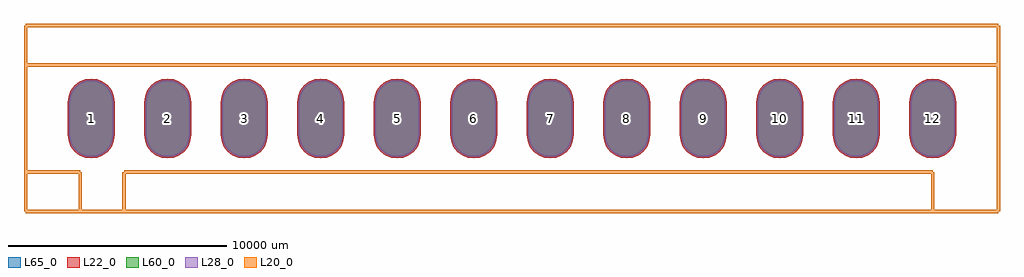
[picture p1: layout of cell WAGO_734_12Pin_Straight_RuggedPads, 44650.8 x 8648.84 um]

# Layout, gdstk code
import gdstk
lib = gdstk.Library(unit=1e-6, precision=1e-09)
def P(c, l, *ps):  # polygons
    for p in ps: c.add(gdstk.Polygon(p, *l))
L20_0 = (20, 0)
L22_0 = (22, 0)
L28_0 = (28, 0)
L60_0 = (60, 0)
L65_0 = (65, 0)

wago_734_12pin_straight_ = lib.new_cell('WAGO_734_12Pin_Straight_RuggedPads')
P(wago_734_12pin_straight_, L22_0, [(19250.66,-1825.06),(19528.758,-1788.448),(19787.905,-1681.106),(20010.439,-1510.349),(20181.196,-1287.815),(20288.538,-1028.668),(20325.15,-750.57),(20325.15,750.57),(20288.538,1028.668),(20181.196,1287.815),(20010.439,1510.349),(19787.905,1681.106),(19528.758,1788.448),(19250.66,1825.06),(18972.562,1788.448),(18713.415,1681.106),(18490.881,1510.349),(18320.124,1287.815),(18212.782,1028.668),(18176.17,750.57),(18176.17,-750.57),(18212.782,-1028.668),(18320.124,-1287.815),(18490.881,-1510.349),(18713.415,-1681.106),(18972.562,-1788.448)],
  [(-19250.66,-1825.06),(-18972.562,-1788.448),(-18713.415,-1681.106),(-18490.881,-1510.349),(-18320.124,-1287.815),(-18212.782,-1028.668),(-18176.17,-750.57),(-18176.17,750.57),(-18212.782,1028.668),(-18320.124,1287.815),(-18490.881,1510.349),(-18713.415,1681.106),(-18972.562,1788.448),(-19250.66,1825.06),(-19528.758,1788.448),(-19787.905,1681.106),(-20010.439,1510.349),(-20181.196,1287.815),(-20288.538,1028.668),(-20325.15,750.57),(-20325.15,-750.57),(-20288.538,-1028.668),(-20181.196,-1287.815),(-20010.439,-1510.349),(-19787.905,-1681.106),(-19528.758,-1788.448)],
  [(-15750.54,-1825.06),(-15472.442,-1788.448),(-15213.295,-1681.106),(-14990.761,-1510.349),(-14820.004,-1287.815),(-14712.662,-1028.668),(-14676.05,-750.57),(-14676.05,750.57),(-14712.662,1028.668),(-14820.004,1287.815),(-14990.761,1510.349),(-15213.295,1681.106),(-15472.442,1788.448),(-15750.54,1825.06),(-16028.638,1788.448),(-16287.785,1681.106),(-16510.319,1510.349),(-16681.076,1287.815),(-16788.418,1028.668),(-16825.03,750.57),(-16825.03,-750.57),(-16788.418,-1028.668),(-16681.076,-1287.815),(-16510.319,-1510.349),(-16287.785,-1681.106),(-16028.638,-1788.448)],
  [(15750.54,-1825.06),(16028.638,-1788.448),(16287.785,-1681.106),(16510.319,-1510.349),(16681.076,-1287.815),(16788.418,-1028.668),(16825.03,-750.57),(16825.03,750.57),(16788.418,1028.668),(16681.076,1287.815),(16510.319,1510.349),(16287.785,1681.106),(16028.638,1788.448),(15750.54,1825.06),(15472.442,1788.448),(15213.295,1681.106),(14990.761,1510.349),(14820.004,1287.815),(14712.662,1028.668),(14676.05,750.57),(14676.05,-750.57),(14712.662,-1028.668),(14820.004,-1287.815),(14990.761,-1510.349),(15213.295,-1681.106),(15472.442,-1788.448)],
  [(12250.42,-1825.06),(12528.518,-1788.448),(12787.665,-1681.106),(13010.199,-1510.349),(13180.956,-1287.815),(13288.298,-1028.668),(13324.91,-750.57),(13324.91,750.57),(13288.298,1028.668),(13180.956,1287.815),(13010.199,1510.349),(12787.665,1681.106),(12528.518,1788.448),(12250.42,1825.06),(11972.322,1788.448),(11713.175,1681.106),(11490.641,1510.349),(11319.884,1287.815),(11212.542,1028.668),(11175.93,750.57),(11175.93,-750.57),(11212.542,-1028.668),(11319.884,-1287.815),(11490.641,-1510.349),(11713.175,-1681.106),(11972.322,-1788.448)],
  [(-12250.42,-1825.06),(-11972.322,-1788.448),(-11713.175,-1681.106),(-11490.641,-1510.349),(-11319.884,-1287.815),(-11212.542,-1028.668),(-11175.93,-750.57),(-11175.93,750.57),(-11212.542,1028.668),(-11319.884,1287.815),(-11490.641,1510.349),(-11713.175,1681.106),(-11972.322,1788.448),(-12250.42,1825.06),(-12528.518,1788.448),(-12787.665,1681.106),(-13010.199,1510.349),(-13180.956,1287.815),(-13288.298,1028.668),(-13324.91,750.57),(-13324.91,-750.57),(-13288.298,-1028.668),(-13180.956,-1287.815),(-13010.199,-1510.349),(-12787.665,-1681.106),(-12528.518,-1788.448)],
  [(8750.3,-1825.06),(9028.398,-1788.448),(9287.545,-1681.106),(9510.079,-1510.349),(9680.836,-1287.815),(9788.178,-1028.668),(9824.79,-750.57),(9824.79,750.57),(9788.178,1028.668),(9680.836,1287.815),(9510.079,1510.349),(9287.545,1681.106),(9028.398,1788.448),(8750.3,1825.06),(8472.202,1788.448),(8213.055,1681.106),(7990.521,1510.349),(7819.764,1287.815),(7712.422,1028.668),(7675.81,750.57),(7675.81,-750.57),(7712.422,-1028.668),(7819.764,-1287.815),(7990.521,-1510.349),(8213.055,-1681.106),(8472.202,-1788.448)],
  [(-8750.3,-1825.06),(-8472.202,-1788.448),(-8213.055,-1681.106),(-7990.521,-1510.349),(-7819.764,-1287.815),(-7712.422,-1028.668),(-7675.81,-750.57),(-7675.81,750.57),(-7712.422,1028.668),(-7819.764,1287.815),(-7990.521,1510.349),(-8213.055,1681.106),(-8472.202,1788.448),(-8750.3,1825.06),(-9028.398,1788.448),(-9287.545,1681.106),(-9510.079,1510.349),(-9680.836,1287.815),(-9788.178,1028.668),(-9824.79,750.57),(-9824.79,-750.57),(-9788.178,-1028.668),(-9680.836,-1287.815),(-9510.079,-1510.349),(-9287.545,-1681.106),(-9028.398,-1788.448)],
  [(5250.18,-1825.06),(5528.278,-1788.448),(5787.425,-1681.106),(6009.959,-1510.349),(6180.716,-1287.815),(6288.058,-1028.668),(6324.67,-750.57),(6324.67,750.57),(6288.058,1028.668),(6180.716,1287.815),(6009.959,1510.349),(5787.425,1681.106),(5528.278,1788.448),(5250.18,1825.06),(4972.082,1788.448),(4712.935,1681.106),(4490.401,1510.349),(4319.644,1287.815),(4212.302,1028.668),(4175.69,750.57),(4175.69,-750.57),(4212.302,-1028.668),(4319.644,-1287.815),(4490.401,-1510.349),(4712.935,-1681.106),(4972.082,-1788.448)],
  [(1750.06,-1825.06),(2028.158,-1788.448),(2287.305,-1681.106),(2509.839,-1510.349),(2680.596,-1287.815),(2787.938,-1028.668),(2824.55,-750.57),(2824.55,750.57),(2787.938,1028.668),(2680.596,1287.815),(2509.839,1510.349),(2287.305,1681.106),(2028.158,1788.448),(1750.06,1825.06),(1471.962,1788.448),(1212.815,1681.106),(990.281,1510.349),(819.524,1287.815),(712.182,1028.668),(675.57,750.57),(675.57,-750.57),(712.182,-1028.668),(819.524,-1287.815),(990.281,-1510.349),(1212.815,-1681.106),(1471.962,-1788.448)],
  [(-5250.18,-1825.06),(-4972.082,-1788.448),(-4712.935,-1681.106),(-4490.401,-1510.349),(-4319.644,-1287.815),(-4212.302,-1028.668),(-4175.69,-750.57),(-4175.69,750.57),(-4212.302,1028.668),(-4319.644,1287.815),(-4490.401,1510.349),(-4712.935,1681.106),(-4972.082,1788.448),(-5250.18,1825.06),(-5528.278,1788.448),(-5787.425,1681.106),(-6009.959,1510.349),(-6180.716,1287.815),(-6288.058,1028.668),(-6324.67,750.57),(-6324.67,-750.57),(-6288.058,-1028.668),(-6180.716,-1287.815),(-6009.959,-1510.349),(-5787.425,-1681.106),(-5528.278,-1788.448)],
  [(-1750.06,-1825.06),(-1471.962,-1788.448),(-1212.815,-1681.106),(-990.281,-1510.349),(-819.524,-1287.815),(-712.182,-1028.668),(-675.57,-750.57),(-675.57,750.57),(-712.182,1028.668),(-819.524,1287.815),(-990.281,1510.349),(-1212.815,1681.106),(-1471.962,1788.448),(-1750.06,1825.06),(-2028.158,1788.448),(-2287.305,1681.106),(-2509.839,1510.349),(-2680.596,1287.815),(-2787.938,1028.668),(-2824.55,750.57),(-2824.55,-750.57),(-2787.938,-1028.668),(-2680.596,-1287.815),(-2509.839,-1510.349),(-2287.305,-1681.106),(-2028.158,-1788.448)])
P(wago_734_12pin_straight_, L28_0, [(19250.66,-1750.06),(19509.347,-1716.003),(19750.405,-1616.154),(19957.406,-1457.316),(20116.244,-1250.315),(20216.093,-1009.257),(20250.15,-750.57),(20250.15,750.57),(20216.093,1009.257),(20116.244,1250.315),(19957.406,1457.316),(19750.405,1616.154),(19509.347,1716.003),(19250.66,1750.06),(18991.973,1716.003),(18750.915,1616.154),(18543.914,1457.316),(18385.076,1250.315),(18285.227,1009.257),(18251.17,750.57),(18251.17,-750.57),(18285.227,-1009.257),(18385.076,-1250.315),(18543.914,-1457.316),(18750.915,-1616.154),(18991.973,-1716.003)],
  [(-19250.66,-1750.06),(-18991.973,-1716.003),(-18750.915,-1616.154),(-18543.914,-1457.316),(-18385.076,-1250.315),(-18285.227,-1009.257),(-18251.17,-750.57),(-18251.17,750.57),(-18285.227,1009.257),(-18385.076,1250.315),(-18543.914,1457.316),(-18750.915,1616.154),(-18991.973,1716.003),(-19250.66,1750.06),(-19509.347,1716.003),(-19750.405,1616.154),(-19957.406,1457.316),(-20116.244,1250.315),(-20216.093,1009.257),(-20250.15,750.57),(-20250.15,-750.57),(-20216.093,-1009.257),(-20116.244,-1250.315),(-19957.406,-1457.316),(-19750.405,-1616.154),(-19509.347,-1716.003)],
  [(-15750.54,-1750.06),(-15491.853,-1716.003),(-15250.795,-1616.154),(-15043.794,-1457.316),(-14884.956,-1250.315),(-14785.107,-1009.257),(-14751.05,-750.57),(-14751.05,750.57),(-14785.107,1009.257),(-14884.956,1250.315),(-15043.794,1457.316),(-15250.795,1616.154),(-15491.853,1716.003),(-15750.54,1750.06),(-16009.227,1716.003),(-16250.285,1616.154),(-16457.286,1457.316),(-16616.124,1250.315),(-16715.973,1009.257),(-16750.03,750.57),(-16750.03,-750.57),(-16715.973,-1009.257),(-16616.124,-1250.315),(-16457.286,-1457.316),(-16250.285,-1616.154),(-16009.227,-1716.003)],
  [(15750.54,-1750.06),(16009.227,-1716.003),(16250.285,-1616.154),(16457.286,-1457.316),(16616.124,-1250.315),(16715.973,-1009.257),(16750.03,-750.57),(16750.03,750.57),(16715.973,1009.257),(16616.124,1250.315),(16457.286,1457.316),(16250.285,1616.154),(16009.227,1716.003),(15750.54,1750.06),(15491.853,1716.003),(15250.795,1616.154),(15043.794,1457.316),(14884.956,1250.315),(14785.107,1009.257),(14751.05,750.57),(14751.05,-750.57),(14785.107,-1009.257),(14884.956,-1250.315),(15043.794,-1457.316),(15250.795,-1616.154),(15491.853,-1716.003)],
  [(12250.42,-1750.06),(12509.107,-1716.003),(12750.165,-1616.154),(12957.166,-1457.316),(13116.004,-1250.315),(13215.853,-1009.257),(13249.91,-750.57),(13249.91,750.57),(13215.853,1009.257),(13116.004,1250.315),(12957.166,1457.316),(12750.165,1616.154),(12509.107,1716.003),(12250.42,1750.06),(11991.733,1716.003),(11750.675,1616.154),(11543.674,1457.316),(11384.836,1250.315),(11284.987,1009.257),(11250.93,750.57),(11250.93,-750.57),(11284.987,-1009.257),(11384.836,-1250.315),(11543.674,-1457.316),(11750.675,-1616.154),(11991.733,-1716.003)],
  [(-12250.42,-1750.06),(-11991.733,-1716.003),(-11750.675,-1616.154),(-11543.674,-1457.316),(-11384.836,-1250.315),(-11284.987,-1009.257),(-11250.93,-750.57),(-11250.93,750.57),(-11284.987,1009.257),(-11384.836,1250.315),(-11543.674,1457.316),(-11750.675,1616.154),(-11991.733,1716.003),(-12250.42,1750.06),(-12509.107,1716.003),(-12750.165,1616.154),(-12957.166,1457.316),(-13116.004,1250.315),(-13215.853,1009.257),(-13249.91,750.57),(-13249.91,-750.57),(-13215.853,-1009.257),(-13116.004,-1250.315),(-12957.166,-1457.316),(-12750.165,-1616.154),(-12509.107,-1716.003)],
  [(8750.3,-1750.06),(9008.987,-1716.003),(9250.045,-1616.154),(9457.046,-1457.316),(9615.884,-1250.315),(9715.733,-1009.257),(9749.79,-750.57),(9749.79,750.57),(9715.733,1009.257),(9615.884,1250.315),(9457.046,1457.316),(9250.045,1616.154),(9008.987,1716.003),(8750.3,1750.06),(8491.613,1716.003),(8250.555,1616.154),(8043.554,1457.316),(7884.716,1250.315),(7784.867,1009.257),(7750.81,750.57),(7750.81,-750.57),(7784.867,-1009.257),(7884.716,-1250.315),(8043.554,-1457.316),(8250.555,-1616.154),(8491.613,-1716.003)],
  [(-8750.3,-1750.06),(-8491.613,-1716.003),(-8250.555,-1616.154),(-8043.554,-1457.316),(-7884.716,-1250.315),(-7784.867,-1009.257),(-7750.81,-750.57),(-7750.81,750.57),(-7784.867,1009.257),(-7884.716,1250.315),(-8043.554,1457.316),(-8250.555,1616.154),(-8491.613,1716.003),(-8750.3,1750.06),(-9008.987,1716.003),(-9250.045,1616.154),(-9457.046,1457.316),(-9615.884,1250.315),(-9715.733,1009.257),(-9749.79,750.57),(-9749.79,-750.57),(-9715.733,-1009.257),(-9615.884,-1250.315),(-9457.046,-1457.316),(-9250.045,-1616.154),(-9008.987,-1716.003)],
  [(5250.18,-1750.06),(5508.867,-1716.003),(5749.925,-1616.154),(5956.926,-1457.316),(6115.764,-1250.315),(6215.613,-1009.257),(6249.67,-750.57),(6249.67,750.57),(6215.613,1009.257),(6115.764,1250.315),(5956.926,1457.316),(5749.925,1616.154),(5508.867,1716.003),(5250.18,1750.06),(4991.493,1716.003),(4750.435,1616.154),(4543.434,1457.316),(4384.596,1250.315),(4284.747,1009.257),(4250.69,750.57),(4250.69,-750.57),(4284.747,-1009.257),(4384.596,-1250.315),(4543.434,-1457.316),(4750.435,-1616.154),(4991.493,-1716.003)],
  [(1750.06,-1750.06),(2008.747,-1716.003),(2249.805,-1616.154),(2456.806,-1457.316),(2615.644,-1250.315),(2715.493,-1009.257),(2749.55,-750.57),(2749.55,750.57),(2715.493,1009.257),(2615.644,1250.315),(2456.806,1457.316),(2249.805,1616.154),(2008.747,1716.003),(1750.06,1750.06),(1491.373,1716.003),(1250.315,1616.154),(1043.314,1457.316),(884.476,1250.315),(784.627,1009.257),(750.57,750.57),(750.57,-750.57),(784.627,-1009.257),(884.476,-1250.315),(1043.314,-1457.316),(1250.315,-1616.154),(1491.373,-1716.003)],
  [(-5250.18,-1750.06),(-4991.493,-1716.003),(-4750.435,-1616.154),(-4543.434,-1457.316),(-4384.596,-1250.315),(-4284.747,-1009.257),(-4250.69,-750.57),(-4250.69,750.57),(-4284.747,1009.257),(-4384.596,1250.315),(-4543.434,1457.316),(-4750.435,1616.154),(-4991.493,1716.003),(-5250.18,1750.06),(-5508.867,1716.003),(-5749.925,1616.154),(-5956.926,1457.316),(-6115.764,1250.315),(-6215.613,1009.257),(-6249.67,750.57),(-6249.67,-750.57),(-6215.613,-1009.257),(-6115.764,-1250.315),(-5956.926,-1457.316),(-5749.925,-1616.154),(-5508.867,-1716.003)],
  [(-1750.06,-1750.06),(-1491.373,-1716.003),(-1250.315,-1616.154),(-1043.314,-1457.316),(-884.476,-1250.315),(-784.627,-1009.257),(-750.57,-750.57),(-750.57,750.57),(-784.627,1009.257),(-884.476,1250.315),(-1043.314,1457.316),(-1250.315,1616.154),(-1491.373,1716.003),(-1750.06,1750.06),(-2008.747,1716.003),(-2249.805,1616.154),(-2456.806,1457.316),(-2615.644,1250.315),(-2715.493,1009.257),(-2749.55,750.57),(-2749.55,-750.57),(-2715.493,-1009.257),(-2615.644,-1250.315),(-2456.806,-1457.316),(-2249.805,-1616.154),(-2008.747,-1716.003)])
P(wago_734_12pin_straight_, L60_0, [(19250.66,-1750.06),(19509.347,-1716.003),(19750.405,-1616.154),(19957.406,-1457.316),(20116.244,-1250.315),(20216.093,-1009.257),(20250.15,-750.57),(20250.15,750.57),(20216.093,1009.257),(20116.244,1250.315),(19957.406,1457.316),(19750.405,1616.154),(19509.347,1716.003),(19250.66,1750.06),(18991.973,1716.003),(18750.915,1616.154),(18543.914,1457.316),(18385.076,1250.315),(18285.227,1009.257),(18251.17,750.57),(18251.17,-750.57),(18285.227,-1009.257),(18385.076,-1250.315),(18543.914,-1457.316),(18750.915,-1616.154),(18991.973,-1716.003)],
  [(-19250.66,-1750.06),(-18991.973,-1716.003),(-18750.915,-1616.154),(-18543.914,-1457.316),(-18385.076,-1250.315),(-18285.227,-1009.257),(-18251.17,-750.57),(-18251.17,750.57),(-18285.227,1009.257),(-18385.076,1250.315),(-18543.914,1457.316),(-18750.915,1616.154),(-18991.973,1716.003),(-19250.66,1750.06),(-19509.347,1716.003),(-19750.405,1616.154),(-19957.406,1457.316),(-20116.244,1250.315),(-20216.093,1009.257),(-20250.15,750.57),(-20250.15,-750.57),(-20216.093,-1009.257),(-20116.244,-1250.315),(-19957.406,-1457.316),(-19750.405,-1616.154),(-19509.347,-1716.003)],
  [(-15750.54,-1750.06),(-15491.853,-1716.003),(-15250.795,-1616.154),(-15043.794,-1457.316),(-14884.956,-1250.315),(-14785.107,-1009.257),(-14751.05,-750.57),(-14751.05,750.57),(-14785.107,1009.257),(-14884.956,1250.315),(-15043.794,1457.316),(-15250.795,1616.154),(-15491.853,1716.003),(-15750.54,1750.06),(-16009.227,1716.003),(-16250.285,1616.154),(-16457.286,1457.316),(-16616.124,1250.315),(-16715.973,1009.257),(-16750.03,750.57),(-16750.03,-750.57),(-16715.973,-1009.257),(-16616.124,-1250.315),(-16457.286,-1457.316),(-16250.285,-1616.154),(-16009.227,-1716.003)],
  [(15750.54,-1750.06),(16009.227,-1716.003),(16250.285,-1616.154),(16457.286,-1457.316),(16616.124,-1250.315),(16715.973,-1009.257),(16750.03,-750.57),(16750.03,750.57),(16715.973,1009.257),(16616.124,1250.315),(16457.286,1457.316),(16250.285,1616.154),(16009.227,1716.003),(15750.54,1750.06),(15491.853,1716.003),(15250.795,1616.154),(15043.794,1457.316),(14884.956,1250.315),(14785.107,1009.257),(14751.05,750.57),(14751.05,-750.57),(14785.107,-1009.257),(14884.956,-1250.315),(15043.794,-1457.316),(15250.795,-1616.154),(15491.853,-1716.003)],
  [(12250.42,-1750.06),(12509.107,-1716.003),(12750.165,-1616.154),(12957.166,-1457.316),(13116.004,-1250.315),(13215.853,-1009.257),(13249.91,-750.57),(13249.91,750.57),(13215.853,1009.257),(13116.004,1250.315),(12957.166,1457.316),(12750.165,1616.154),(12509.107,1716.003),(12250.42,1750.06),(11991.733,1716.003),(11750.675,1616.154),(11543.674,1457.316),(11384.836,1250.315),(11284.987,1009.257),(11250.93,750.57),(11250.93,-750.57),(11284.987,-1009.257),(11384.836,-1250.315),(11543.674,-1457.316),(11750.675,-1616.154),(11991.733,-1716.003)],
  [(-12250.42,-1750.06),(-11991.733,-1716.003),(-11750.675,-1616.154),(-11543.674,-1457.316),(-11384.836,-1250.315),(-11284.987,-1009.257),(-11250.93,-750.57),(-11250.93,750.57),(-11284.987,1009.257),(-11384.836,1250.315),(-11543.674,1457.316),(-11750.675,1616.154),(-11991.733,1716.003),(-12250.42,1750.06),(-12509.107,1716.003),(-12750.165,1616.154),(-12957.166,1457.316),(-13116.004,1250.315),(-13215.853,1009.257),(-13249.91,750.57),(-13249.91,-750.57),(-13215.853,-1009.257),(-13116.004,-1250.315),(-12957.166,-1457.316),(-12750.165,-1616.154),(-12509.107,-1716.003)],
  [(8750.3,-1750.06),(9008.987,-1716.003),(9250.045,-1616.154),(9457.046,-1457.316),(9615.884,-1250.315),(9715.733,-1009.257),(9749.79,-750.57),(9749.79,750.57),(9715.733,1009.257),(9615.884,1250.315),(9457.046,1457.316),(9250.045,1616.154),(9008.987,1716.003),(8750.3,1750.06),(8491.613,1716.003),(8250.555,1616.154),(8043.554,1457.316),(7884.716,1250.315),(7784.867,1009.257),(7750.81,750.57),(7750.81,-750.57),(7784.867,-1009.257),(7884.716,-1250.315),(8043.554,-1457.316),(8250.555,-1616.154),(8491.613,-1716.003)],
  [(-8750.3,-1750.06),(-8491.613,-1716.003),(-8250.555,-1616.154),(-8043.554,-1457.316),(-7884.716,-1250.315),(-7784.867,-1009.257),(-7750.81,-750.57),(-7750.81,750.57),(-7784.867,1009.257),(-7884.716,1250.315),(-8043.554,1457.316),(-8250.555,1616.154),(-8491.613,1716.003),(-8750.3,1750.06),(-9008.987,1716.003),(-9250.045,1616.154),(-9457.046,1457.316),(-9615.884,1250.315),(-9715.733,1009.257),(-9749.79,750.57),(-9749.79,-750.57),(-9715.733,-1009.257),(-9615.884,-1250.315),(-9457.046,-1457.316),(-9250.045,-1616.154),(-9008.987,-1716.003)],
  [(5250.18,-1750.06),(5508.867,-1716.003),(5749.925,-1616.154),(5956.926,-1457.316),(6115.764,-1250.315),(6215.613,-1009.257),(6249.67,-750.57),(6249.67,750.57),(6215.613,1009.257),(6115.764,1250.315),(5956.926,1457.316),(5749.925,1616.154),(5508.867,1716.003),(5250.18,1750.06),(4991.493,1716.003),(4750.435,1616.154),(4543.434,1457.316),(4384.596,1250.315),(4284.747,1009.257),(4250.69,750.57),(4250.69,-750.57),(4284.747,-1009.257),(4384.596,-1250.315),(4543.434,-1457.316),(4750.435,-1616.154),(4991.493,-1716.003)],
  [(1750.06,-1750.06),(2008.747,-1716.003),(2249.805,-1616.154),(2456.806,-1457.316),(2615.644,-1250.315),(2715.493,-1009.257),(2749.55,-750.57),(2749.55,750.57),(2715.493,1009.257),(2615.644,1250.315),(2456.806,1457.316),(2249.805,1616.154),(2008.747,1716.003),(1750.06,1750.06),(1491.373,1716.003),(1250.315,1616.154),(1043.314,1457.316),(884.476,1250.315),(784.627,1009.257),(750.57,750.57),(750.57,-750.57),(784.627,-1009.257),(884.476,-1250.315),(1043.314,-1457.316),(1250.315,-1616.154),(1491.373,-1716.003)],
  [(-5250.18,-1750.06),(-4991.493,-1716.003),(-4750.435,-1616.154),(-4543.434,-1457.316),(-4384.596,-1250.315),(-4284.747,-1009.257),(-4250.69,-750.57),(-4250.69,750.57),(-4284.747,1009.257),(-4384.596,1250.315),(-4543.434,1457.316),(-4750.435,1616.154),(-4991.493,1716.003),(-5250.18,1750.06),(-5508.867,1716.003),(-5749.925,1616.154),(-5956.926,1457.316),(-6115.764,1250.315),(-6215.613,1009.257),(-6249.67,750.57),(-6249.67,-750.57),(-6215.613,-1009.257),(-6115.764,-1250.315),(-5956.926,-1457.316),(-5749.925,-1616.154),(-5508.867,-1716.003)],
  [(-1750.06,-1750.06),(-1491.373,-1716.003),(-1250.315,-1616.154),(-1043.314,-1457.316),(-884.476,-1250.315),(-784.627,-1009.257),(-750.57,-750.57),(-750.57,750.57),(-784.627,1009.257),(-884.476,1250.315),(-1043.314,1457.316),(-1250.315,1616.154),(-1491.373,1716.003),(-1750.06,1750.06),(-2008.747,1716.003),(-2249.805,1616.154),(-2456.806,1457.316),(-2615.644,1250.315),(-2715.493,1009.257),(-2749.55,750.57),(-2749.55,-750.57),(-2715.493,-1009.257),(-2615.644,-1250.315),(-2456.806,-1457.316),(-2249.805,-1616.154),(-2008.747,-1716.003)])
P(wago_734_12pin_straight_, L65_0, [(19250.66,-1825.06),(19528.758,-1788.448),(19787.905,-1681.106),(20010.439,-1510.349),(20181.196,-1287.815),(20288.538,-1028.668),(20325.15,-750.57),(20325.15,750.57),(20288.538,1028.668),(20181.196,1287.815),(20010.439,1510.349),(19787.905,1681.106),(19528.758,1788.448),(19250.66,1825.06),(18972.562,1788.448),(18713.415,1681.106),(18490.881,1510.349),(18320.124,1287.815),(18212.782,1028.668),(18176.17,750.57),(18176.17,-750.57),(18212.782,-1028.668),(18320.124,-1287.815),(18490.881,-1510.349),(18713.415,-1681.106),(18972.562,-1788.448)],
  [(-19250.66,-1825.06),(-18972.562,-1788.448),(-18713.415,-1681.106),(-18490.881,-1510.349),(-18320.124,-1287.815),(-18212.782,-1028.668),(-18176.17,-750.57),(-18176.17,750.57),(-18212.782,1028.668),(-18320.124,1287.815),(-18490.881,1510.349),(-18713.415,1681.106),(-18972.562,1788.448),(-19250.66,1825.06),(-19528.758,1788.448),(-19787.905,1681.106),(-20010.439,1510.349),(-20181.196,1287.815),(-20288.538,1028.668),(-20325.15,750.57),(-20325.15,-750.57),(-20288.538,-1028.668),(-20181.196,-1287.815),(-20010.439,-1510.349),(-19787.905,-1681.106),(-19528.758,-1788.448)],
  [(-15750.54,-1825.06),(-15472.442,-1788.448),(-15213.295,-1681.106),(-14990.761,-1510.349),(-14820.004,-1287.815),(-14712.662,-1028.668),(-14676.05,-750.57),(-14676.05,750.57),(-14712.662,1028.668),(-14820.004,1287.815),(-14990.761,1510.349),(-15213.295,1681.106),(-15472.442,1788.448),(-15750.54,1825.06),(-16028.638,1788.448),(-16287.785,1681.106),(-16510.319,1510.349),(-16681.076,1287.815),(-16788.418,1028.668),(-16825.03,750.57),(-16825.03,-750.57),(-16788.418,-1028.668),(-16681.076,-1287.815),(-16510.319,-1510.349),(-16287.785,-1681.106),(-16028.638,-1788.448)],
  [(15750.54,-1825.06),(16028.638,-1788.448),(16287.785,-1681.106),(16510.319,-1510.349),(16681.076,-1287.815),(16788.418,-1028.668),(16825.03,-750.57),(16825.03,750.57),(16788.418,1028.668),(16681.076,1287.815),(16510.319,1510.349),(16287.785,1681.106),(16028.638,1788.448),(15750.54,1825.06),(15472.442,1788.448),(15213.295,1681.106),(14990.761,1510.349),(14820.004,1287.815),(14712.662,1028.668),(14676.05,750.57),(14676.05,-750.57),(14712.662,-1028.668),(14820.004,-1287.815),(14990.761,-1510.349),(15213.295,-1681.106),(15472.442,-1788.448)],
  [(12250.42,-1825.06),(12528.518,-1788.448),(12787.665,-1681.106),(13010.199,-1510.349),(13180.956,-1287.815),(13288.298,-1028.668),(13324.91,-750.57),(13324.91,750.57),(13288.298,1028.668),(13180.956,1287.815),(13010.199,1510.349),(12787.665,1681.106),(12528.518,1788.448),(12250.42,1825.06),(11972.322,1788.448),(11713.175,1681.106),(11490.641,1510.349),(11319.884,1287.815),(11212.542,1028.668),(11175.93,750.57),(11175.93,-750.57),(11212.542,-1028.668),(11319.884,-1287.815),(11490.641,-1510.349),(11713.175,-1681.106),(11972.322,-1788.448)],
  [(-12250.42,-1825.06),(-11972.322,-1788.448),(-11713.175,-1681.106),(-11490.641,-1510.349),(-11319.884,-1287.815),(-11212.542,-1028.668),(-11175.93,-750.57),(-11175.93,750.57),(-11212.542,1028.668),(-11319.884,1287.815),(-11490.641,1510.349),(-11713.175,1681.106),(-11972.322,1788.448),(-12250.42,1825.06),(-12528.518,1788.448),(-12787.665,1681.106),(-13010.199,1510.349),(-13180.956,1287.815),(-13288.298,1028.668),(-13324.91,750.57),(-13324.91,-750.57),(-13288.298,-1028.668),(-13180.956,-1287.815),(-13010.199,-1510.349),(-12787.665,-1681.106),(-12528.518,-1788.448)],
  [(8750.3,-1825.06),(9028.398,-1788.448),(9287.545,-1681.106),(9510.079,-1510.349),(9680.836,-1287.815),(9788.178,-1028.668),(9824.79,-750.57),(9824.79,750.57),(9788.178,1028.668),(9680.836,1287.815),(9510.079,1510.349),(9287.545,1681.106),(9028.398,1788.448),(8750.3,1825.06),(8472.202,1788.448),(8213.055,1681.106),(7990.521,1510.349),(7819.764,1287.815),(7712.422,1028.668),(7675.81,750.57),(7675.81,-750.57),(7712.422,-1028.668),(7819.764,-1287.815),(7990.521,-1510.349),(8213.055,-1681.106),(8472.202,-1788.448)],
  [(-8750.3,-1825.06),(-8472.202,-1788.448),(-8213.055,-1681.106),(-7990.521,-1510.349),(-7819.764,-1287.815),(-7712.422,-1028.668),(-7675.81,-750.57),(-7675.81,750.57),(-7712.422,1028.668),(-7819.764,1287.815),(-7990.521,1510.349),(-8213.055,1681.106),(-8472.202,1788.448),(-8750.3,1825.06),(-9028.398,1788.448),(-9287.545,1681.106),(-9510.079,1510.349),(-9680.836,1287.815),(-9788.178,1028.668),(-9824.79,750.57),(-9824.79,-750.57),(-9788.178,-1028.668),(-9680.836,-1287.815),(-9510.079,-1510.349),(-9287.545,-1681.106),(-9028.398,-1788.448)],
  [(5250.18,-1825.06),(5528.278,-1788.448),(5787.425,-1681.106),(6009.959,-1510.349),(6180.716,-1287.815),(6288.058,-1028.668),(6324.67,-750.57),(6324.67,750.57),(6288.058,1028.668),(6180.716,1287.815),(6009.959,1510.349),(5787.425,1681.106),(5528.278,1788.448),(5250.18,1825.06),(4972.082,1788.448),(4712.935,1681.106),(4490.401,1510.349),(4319.644,1287.815),(4212.302,1028.668),(4175.69,750.57),(4175.69,-750.57),(4212.302,-1028.668),(4319.644,-1287.815),(4490.401,-1510.349),(4712.935,-1681.106),(4972.082,-1788.448)],
  [(1750.06,-1825.06),(2028.158,-1788.448),(2287.305,-1681.106),(2509.839,-1510.349),(2680.596,-1287.815),(2787.938,-1028.668),(2824.55,-750.57),(2824.55,750.57),(2787.938,1028.668),(2680.596,1287.815),(2509.839,1510.349),(2287.305,1681.106),(2028.158,1788.448),(1750.06,1825.06),(1471.962,1788.448),(1212.815,1681.106),(990.281,1510.349),(819.524,1287.815),(712.182,1028.668),(675.57,750.57),(675.57,-750.57),(712.182,-1028.668),(819.524,-1287.815),(990.281,-1510.349),(1212.815,-1681.106),(1471.962,-1788.448)],
  [(-5250.18,-1825.06),(-4972.082,-1788.448),(-4712.935,-1681.106),(-4490.401,-1510.349),(-4319.644,-1287.815),(-4212.302,-1028.668),(-4175.69,-750.57),(-4175.69,750.57),(-4212.302,1028.668),(-4319.644,1287.815),(-4490.401,1510.349),(-4712.935,1681.106),(-4972.082,1788.448),(-5250.18,1825.06),(-5528.278,1788.448),(-5787.425,1681.106),(-6009.959,1510.349),(-6180.716,1287.815),(-6288.058,1028.668),(-6324.67,750.57),(-6324.67,-750.57),(-6288.058,-1028.668),(-6180.716,-1287.815),(-6009.959,-1510.349),(-5787.425,-1681.106),(-5528.278,-1788.448)],
  [(-1750.06,-1825.06),(-1471.962,-1788.448),(-1212.815,-1681.106),(-990.281,-1510.349),(-819.524,-1287.815),(-712.182,-1028.668),(-675.57,-750.57),(-675.57,750.57),(-712.182,1028.668),(-819.524,1287.815),(-990.281,1510.349),(-1212.815,1681.106),(-1471.962,1788.448),(-1750.06,1825.06),(-2028.158,1788.448),(-2287.305,1681.106),(-2509.839,1510.349),(-2680.596,1287.815),(-2787.938,1028.668),(-2824.55,750.57),(-2824.55,-750.57),(-2787.938,-1028.668),(-2680.596,-1287.815),(-2509.839,-1510.349),(-2287.305,-1681.106),(-2028.158,-1788.448)])
wago_734_12pin_straight_.add(gdstk.FlexPath([(-22250.4,-4249.42),(0,-4249.42)], 149.998, ends="flush", simple_path=True, layer=20, datatype=0))  # L20_0
wago_734_12pin_straight_.add(gdstk.FlexPath([(-22250.4,4249.42),(-22250.4,-4249.42)], 149.998, ends="flush", simple_path=True, layer=20, datatype=0))  # L20_0
wago_734_12pin_straight_.add(gdstk.FlexPath([(22250.4,4249.42),(-22250.4,4249.42)], 149.998, ends="flush", simple_path=True, layer=20, datatype=0))  # L20_0
wago_734_12pin_straight_.add(gdstk.FlexPath([(22250.4,-4249.42),(22250.4,4249.42)], 149.998, ends="flush", simple_path=True, layer=20, datatype=0))  # L20_0
wago_734_12pin_straight_.add(gdstk.FlexPath([(0,-4249.42),(22250.4,-4249.42)], 149.998, ends="flush", simple_path=True, layer=20, datatype=0))  # L20_0
wago_734_12pin_straight_.add(gdstk.FlexPath([(-19751.04,-2451.1),(-19751.04,-4249.42)], 149.998, ends="flush", simple_path=True, layer=20, datatype=0))  # L20_0
wago_734_12pin_straight_.add(gdstk.FlexPath([(-22250.4,-2451.1),(-19751.04,-2451.1)], 149.998, ends="flush", simple_path=True, layer=20, datatype=0))  # L20_0
wago_734_12pin_straight_.add(gdstk.FlexPath([(-17749.52,-4249.42),(-17749.52,-2451.1)], 149.998, ends="flush", simple_path=True, layer=20, datatype=0))  # L20_0
wago_734_12pin_straight_.add(gdstk.FlexPath([(19250.66,-2451.1),(-17749.52,-2451.1)], 149.998, ends="flush", simple_path=True, layer=20, datatype=0))  # L20_0
wago_734_12pin_straight_.add(gdstk.FlexPath([(19250.66,-4249.42),(19250.66,-2451.1)], 149.998, ends="flush", simple_path=True, layer=20, datatype=0))  # L20_0
wago_734_12pin_straight_.add(gdstk.FlexPath([(-22250.4,2451.1),(22250.4,2451.1)], 149.998, ends="flush", simple_path=True, layer=20, datatype=0))  # L20_0
wago_734_12pin_straight_.add(gdstk.Label('12', (19250.66,0), layer=28, texttype=0))
wago_734_12pin_straight_.add(gdstk.Label('1', (-19250.66,0), layer=28, texttype=0))
wago_734_12pin_straight_.add(gdstk.Label('2', (-15750.54,0), layer=28, texttype=0))
wago_734_12pin_straight_.add(gdstk.Label('11', (15750.54,0), layer=28, texttype=0))
wago_734_12pin_straight_.add(gdstk.Label('10', (12250.42,0), layer=28, texttype=0))
wago_734_12pin_straight_.add(gdstk.Label('3', (-12250.42,0), layer=28, texttype=0))
wago_734_12pin_straight_.add(gdstk.Label('9', (8750.3,0), layer=28, texttype=0))
wago_734_12pin_straight_.add(gdstk.Label('4', (-8750.3,0), layer=28, texttype=0))
wago_734_12pin_straight_.add(gdstk.Label('8', (5250.18,0), layer=28, texttype=0))
wago_734_12pin_straight_.add(gdstk.Label('7', (1750.06,0), layer=28, texttype=0))
wago_734_12pin_straight_.add(gdstk.Label('5', (-5250.18,0), layer=28, texttype=0))
wago_734_12pin_straight_.add(gdstk.Label('6', (-1750.06,0), layer=28, texttype=0))
wago_734_12pin_straight_.add(gdstk.Label('type', (0,-6350), layer=9, texttype=0))
wago_734_12pin_straight_.add(gdstk.Label('devicename', (0,6350), layer=9, texttype=0))

lib.write_gds('WAGO_734_12Pin_Straight_RuggedPads.gds')
